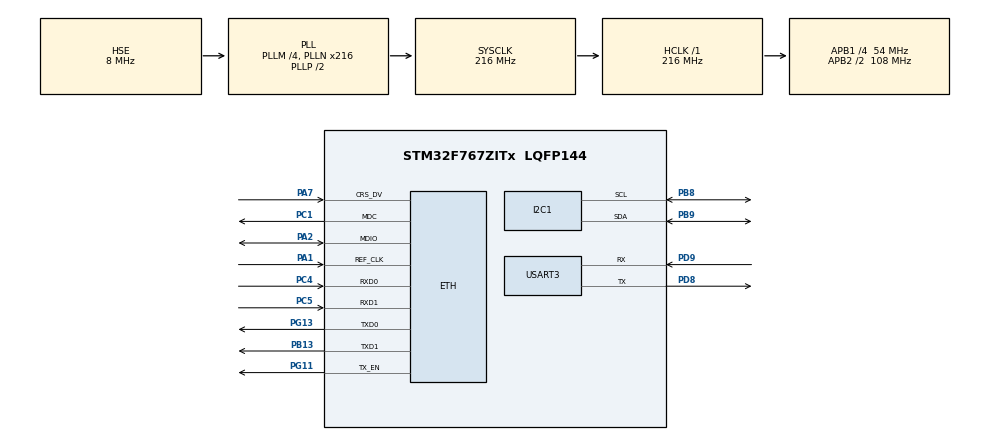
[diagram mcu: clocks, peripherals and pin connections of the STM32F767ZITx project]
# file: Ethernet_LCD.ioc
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CORTEX_M7.default_mode_Activation=1
ETH.MediaInterface=HAL_ETH_RMII_MODE
FREERTOS.Tasks01=defaultTask,0,256,StartDefaultTask,Default,NULL,Dynamic,NULL,NULL
FREERTOS.configTOTAL_HEAP_SIZE=30720
FREERTOS.configUSE_NEWLIB_REENTRANT=1
I2C1.Timing=0x20404768
LWIP.BSP.number=1
LWIP.IP_ADDRESS=192.168.001.100
LWIP.LWIP_DHCP=0
LWIP.MEM_SIZE=8192
LWIP.NETMASK_ADDRESS=255.255.255.000
LWIP.Version=v2.1.2_Cube
LWIP0.BSP.STBoard=false
LWIP0.BSP.api=BSP_COMPONENT_DRIVER
LWIP0.BSP.component=LAN8742
LWIP0.BSP.instance=LAN8742
LWIP0.BSP.name=Driver_PHY
LWIP0.BSP.semaphore=S_LAN8742
LWIP0.BSP.solution=LAN8742
Mcu.Family=STM32F7
Mcu.Name=STM32F767ZITx
Mcu.Package=LQFP144
NVIC.ETH_IRQn=true\:5\:0\:false\:false\:true\:true\:false\:true\:true
NVIC.PriorityGroup=NVIC_PRIORITYGROUP_4
NVIC.TIM1_UP_TIM10_IRQn=true\:15\:0\:false\:false\:true\:false\:false\:true\:true
NVIC.TimeBase=TIM1_UP_TIM10_IRQn
NVIC.TimeBaseIP=TIM1
PA1.Mode=RMII
PA1.Signal=ETH_REF_CLK
PA2.Mode=RMII
PA2.Signal=ETH_MDIO
PA7.Mode=RMII
PA7.Signal=ETH_CRS_DV
PB13.Mode=RMII
PB13.Signal=ETH_TXD1
PB8.Mode=I2C
PB8.Signal=I2C1_SCL
PB9.Mode=I2C
PB9.Signal=I2C1_SDA
PC1.Mode=RMII
PC1.Signal=ETH_MDC
PC4.Mode=RMII
PC4.Signal=ETH_RXD0
PC5.Mode=RMII
PC5.Signal=ETH_RXD1
PD8.Mode=Asynchronous
PD8.Signal=USART3_TX
PD9.Mode=Asynchronous
PD9.Signal=USART3_RX
PG11.Mode=RMII
PG11.Signal=ETH_TX_EN
PG13.Mode=RMII
PG13.Signal=ETH_TXD0
PH0/OSC_IN.Mode=HSE-External-Clock-Source
PH0/OSC_IN.Signal=RCC_OSC_IN
PH1/OSC_OUT.Mode=HSE-External-Clock-Source
PH1/OSC_OUT.Signal=RCC_OSC_OUT
ProjectManager.HeapSize=0x200
ProjectManager.StackSize=0x400
ProjectManager.TargetToolchain=STM32CubeIDE
RCC.AHBFreq_Value=216000000
RCC.APB1CLKDivider=RCC_HCLK_DIV4
RCC.APB1Freq_Value=54000000
RCC.APB1TimFreq_Value=108000000
RCC.APB2CLKDivider=RCC_HCLK_DIV2
RCC.APB2Freq_Value=108000000
RCC.APB2TimFreq_Value=216000000
RCC.CortexFreq_Value=216000000
RCC.HCLKFreq_Value=216000000
RCC.HSE_VALUE=8000000
RCC.HSI_VALUE=16000000
RCC.LSE_VALUE=32768
RCC.PLLM=4
RCC.PLLN=216
RCC.PLLSourceVirtual=RCC_PLLSOURCE_HSE
RCC.SYSCLKFreq_VALUE=216000000
RCC.SYSCLKSource=RCC_SYSCLKSOURCE_PLLCLK
RCC.USBFreq_Value=216000000
RCC.VCOOutputFreq_Value=432000000
USART3.VirtualMode-Asynchronous=VM_ASYNC
VP_FREERTOS_VS_CMSIS_V1.Mode=CMSIS_V1
VP_LWIP_VS_Enabled.Mode=Enabled
VP_SYS_VS_tim1.Mode=TIM1
board=custom

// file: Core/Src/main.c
/* USER CODE BEGIN Header */
/**
  ******************************************************************************
  * @file           : main.c
  * @brief          : Main program body
  ******************************************************************************
  * @attention
  *
  * Copyright (c) 2026 STMicroelectronics.
  * All rights reserved.
  *
  * This software is licensed under terms that can be found in the LICENSE file
  * in the root directory of this software component.
  * If no LICENSE file comes with this software, it is provided AS-IS.
  *
  ******************************************************************************
  */
/* USER CODE END Header */
#include "main.h"
#include "cmsis_os.h"
#include "lwip.h"

/* USER CODE BEGIN Includes */
#include <string.h>
#include <stdio.h>
#include "liquidcrystal_i2c.h"
#include "FreeRTOS.h"
#include "queue.h"
#include "lwip/netif.h"
#include "lwip/etharp.h"
#include "ethernetif.h"
#include "lwip/sockets.h"
#include "lwip/inet.h"
/* USER CODE END Includes */

I2C_HandleTypeDef hi2c1;

UART_HandleTypeDef huart3;

osThreadId defaultTaskHandle;
/* USER CODE BEGIN PV */

QueueHandle_t MessageQueue;
osThreadId printTaskHandle;
extern struct netif gnetif;
extern void Ethernet_Link_Periodic_Handle(struct netif *netif);
extern void MX_LWIP_Process(void);
extern ETH_DMADescTypeDef DMATxDscrTab[];
extern ETH_DMADescTypeDef DMARxDscrTab[];

/* USER CODE END PV */

void SystemClock_Config(void);
static void MPU_Config(void);
static void MX_GPIO_Init(void);
static void MX_I2C1_Init(void);
static void MX_USART3_UART_Init(void);
void StartDefaultTask(void const * argument);

/* USER CODE BEGIN PFP */
void printMessage(void const *arguement);
void StartDefaultTask(void const *arguement);
void HttpPollTask(void const *argument);

/* USER CODE END PFP */

int main(void)
{

  /* USER CODE BEGIN 1 */
	volatile uint32_t delay;
	for(delay = 0; delay < 2000000; delay++) __NOP();
  /* USER CODE END 1 */

  /* MPU Configuration--------------------------------------------------------*/
  MPU_Config();

  /* MCU Configuration--------------------------------------------------------*/

  /* Reset of all peripherals, Initializes the Flash interface and the Systick. */
  HAL_Init();

  /* Configure the system clock */
  SystemClock_Config();

  /* USER CODE BEGIN SysInit */
  SCB_EnableICache();
  SCB_EnableDCache();
  /* USER CODE END SysInit */

  /* Initialize all configured peripherals */
  MX_GPIO_Init();
  MX_I2C1_Init();
  MX_USART3_UART_Init();
  /* USER CODE BEGIN 2 */
  HD44780_Init(2);
  /* USER CODE END 2 */

  /* USER CODE BEGIN RTOS_QUEUES */
  MessageQueue = xQueueCreate(1, 32);
  /* add queues, ... */
  /* USER CODE END RTOS_QUEUES */

  /* Create the thread(s) */
  /* definition and creation of defaultTask */
  osThreadDef(defaultTask, StartDefaultTask, osPriorityNormal, 0, 512);
  defaultTaskHandle = osThreadCreate(osThread(defaultTask), NULL);

  /* USER CODE BEGIN RTOS_THREADS */
  osThreadDef(printMessage, printMessage, osPriorityNormal, 0, 512);
  printTaskHandle = osThreadCreate(osThread(printMessage), NULL);

  /* add threads, ... */
  /* USER CODE END RTOS_THREADS */

  /* Start scheduler */
  osKernelStart();

  /* We should never get here as control is now taken by the scheduler */

  /* Infinite loop */

}

void SystemClock_Config(void)
{
  RCC_OscInitTypeDef RCC_OscInitStruct = {0};
  RCC_ClkInitTypeDef RCC_ClkInitStruct = {0};

  /** Configure the main internal regulator output voltage
  */
  __HAL_RCC_PWR_CLK_ENABLE();
  __HAL_PWR_VOLTAGESCALING_CONFIG(PWR_REGULATOR_VOLTAGE_SCALE1);

  /** Initializes the RCC Oscillators according to the specified parameters
  * in the RCC_OscInitTypeDef structure.
  */
  RCC_OscInitStruct.OscillatorType = RCC_OSCILLATORTYPE_HSE;
  RCC_OscInitStruct.HSEState = RCC_HSE_BYPASS;
  RCC_OscInitStruct.PLL.PLLState = RCC_PLL_ON;
  RCC_OscInitStruct.PLL.PLLSource = RCC_PLLSOURCE_HSE;
  RCC_OscInitStruct.PLL.PLLM = 4;
  RCC_OscInitStruct.PLL.PLLN = 216;
  RCC_OscInitStruct.PLL.PLLP = RCC_PLLP_DIV2;
  RCC_OscInitStruct.PLL.PLLQ = 2;
  RCC_OscInitStruct.PLL.PLLR = 2;
  if (HAL_RCC_OscConfig(&RCC_OscInitStruct) != HAL_OK)
  {
    Error_Handler();
  }

  /** Activate the Over-Drive mode
  */
  if (HAL_PWREx_EnableOverDrive() != HAL_OK)
  {
    Error_Handler();
  }

  /** Initializes the CPU, AHB and APB buses clocks
  */
  RCC_ClkInitStruct.ClockType = RCC_CLOCKTYPE_HCLK|RCC_CLOCKTYPE_SYSCLK
                              |RCC_CLOCKTYPE_PCLK1|RCC_CLOCKTYPE_PCLK2;
  RCC_ClkInitStruct.SYSCLKSource = RCC_SYSCLKSOURCE_PLLCLK;
  RCC_ClkInitStruct.AHBCLKDivider = RCC_SYSCLK_DIV1;
  RCC_ClkInitStruct.APB1CLKDivider = RCC_HCLK_DIV4;
  RCC_ClkInitStruct.APB2CLKDivider = RCC_HCLK_DIV2;

  if (HAL_RCC_ClockConfig(&RCC_ClkInitStruct, FLASH_LATENCY_7) != HAL_OK)
  {
    Error_Handler();
  }
}

static void MX_I2C1_Init(void)
{

  hi2c1.Instance = I2C1;
  hi2c1.Init.Timing = 0x20404768;
  hi2c1.Init.OwnAddress1 = 0;
  hi2c1.Init.AddressingMode = I2C_ADDRESSINGMODE_7BIT;
  hi2c1.Init.DualAddressMode = I2C_DUALADDRESS_DISABLE;
  hi2c1.Init.OwnAddress2 = 0;
  hi2c1.Init.OwnAddress2Masks = I2C_OA2_NOMASK;
  hi2c1.Init.GeneralCallMode = I2C_GENERALCALL_DISABLE;
  hi2c1.Init.NoStretchMode = I2C_NOSTRETCH_DISABLE;
  if (HAL_I2C_Init(&hi2c1) != HAL_OK)
  {
    Error_Handler();
  }

  /** Configure Analogue filter
  */
  if (HAL_I2CEx_ConfigAnalogFilter(&hi2c1, I2C_ANALOGFILTER_ENABLE) != HAL_OK)
  {
    Error_Handler();
  }

  /** Configure Digital filter
  */
  if (HAL_I2CEx_ConfigDigitalFilter(&hi2c1, 0) != HAL_OK)
  {
    Error_Handler();
  }

}

static void MX_USART3_UART_Init(void)
{

  huart3.Instance = USART3;
  huart3.Init.BaudRate = 115200;
  huart3.Init.WordLength = UART_WORDLENGTH_8B;
  huart3.Init.StopBits = UART_STOPBITS_1;
  huart3.Init.Parity = UART_PARITY_NONE;
  huart3.Init.Mode = UART_MODE_TX_RX;
  huart3.Init.HwFlowCtl = UART_HWCONTROL_NONE;
  huart3.Init.OverSampling = UART_OVERSAMPLING_16;
  huart3.Init.OneBitSampling = UART_ONE_BIT_SAMPLE_DISABLE;
  huart3.AdvancedInit.AdvFeatureInit = UART_ADVFEATURE_NO_INIT;
  if (HAL_UART_Init(&huart3) != HAL_OK)
  {
    Error_Handler();
  }

}

static void MX_GPIO_Init(void)
{

  /* GPIO Ports Clock Enable */
  __HAL_RCC_GPIOH_CLK_ENABLE();
  __HAL_RCC_GPIOC_CLK_ENABLE();
  __HAL_RCC_GPIOA_CLK_ENABLE();
  __HAL_RCC_GPIOB_CLK_ENABLE();
  __HAL_RCC_GPIOD_CLK_ENABLE();
  __HAL_RCC_GPIOG_CLK_ENABLE();

}

/* USER CODE BEGIN 4 */
int __io_putchar(int ch)
{
    HAL_UART_Transmit(&huart3, (uint8_t*)&ch, 1, 10);
    return ch;
}
void printMessage(void const *argument)
{
    char msg[32] = "";
    for(;;)
    {
        if(xQueueReceive(MessageQueue, msg, portMAX_DELAY) == pdPASS)
        {
            char *line2 = strchr(msg, '\n');
            HD44780_Clear();
            HD44780_SetCursor(0, 0);
            if(line2)
            {
                *line2 = '\0';
                line2++;
                HD44780_PrintStr(msg);
                HD44780_SetCursor(0, 1);
                HD44780_PrintStr(line2);
            }
            else
            {
                HD44780_PrintStr(msg);
            }
        }
        osDelay(1);
    }
}

void HttpPollTask(void const *argument)
{
    osDelay(3000); // wait for network to stabilize

    int sock;
    struct sockaddr_in server;
    char request[] = "GET / HTTP/1.1\r\nHost: 192.168.1.9\r\nConnection: close\r\n\r\n";
    char response[512];

    for(;;)
    {
        sock = socket(AF_INET, SOCK_STREAM, 0);
        if(sock >= 0)
        {
            server.sin_family = AF_INET;
            server.sin_port = htons(8000);
            server.sin_addr.s_addr = inet_addr("192.168.1.9");

            if(connect(sock, (struct sockaddr*)&server, sizeof(server)) == 0)
            {
                send(sock, request, strlen(request), 0);
                memset(response, 0, sizeof(response));
                recv(sock, response, sizeof(response)-1, 0);

                // Find end of HTTP headers
                char *body = strstr(response, "\r\n\r\n");
                if(body)
                {
                    body += 4;
                    int len = strlen(body);
                    while(len > 0 && (body[len-1] == '\r' || body[len-1] == '\n' || body[len-1] == ' '))
                    {
                    	body[len-1] = '\0';
                    	len--;
                    }
                    xQueueSend(MessageQueue, body, 0);
                }
            }
            closesocket(sock);
        }
        osDelay(5000); // poll every 5 seconds
    }
}

/* USER CODE END 4 */

void StartDefaultTask(void const *argument)
{

    HD44780_Clear();
    HD44780_SetCursor(0, 0);
    HD44780_PrintStr("Welcome Home,");
    HD44780_SetCursor(0, 1);
    HD44780_PrintStr("Nasser");
    osDelay(2000);

    MX_LWIP_Init();

    osThreadDef(HttpPollTask, HttpPollTask, osPriorityNormal, 0, 1024);
    osThreadCreate(osThread(HttpPollTask), NULL);

    osThreadDef(ethernet_link, ethernet_link_thread, osPriorityNormal, 0, 512);
    osThreadCreate(osThread(ethernet_link), &gnetif);

    for(;;)
    {
        osDelay(1000);
    }
}

 /* MPU Configuration */

void MPU_Config(void)
{
  MPU_Region_InitTypeDef MPU_InitStruct = {0};
  HAL_MPU_Disable();

  /* Region 0: 4GB no access */
  MPU_InitStruct.Enable = MPU_REGION_ENABLE;
  MPU_InitStruct.Number = MPU_REGION_NUMBER0;
  MPU_InitStruct.BaseAddress = 0x0;
  MPU_InitStruct.Size = MPU_REGION_SIZE_4GB;
  MPU_InitStruct.SubRegionDisable = 0x87;
  MPU_InitStruct.TypeExtField = MPU_TEX_LEVEL0;
  MPU_InitStruct.AccessPermission = MPU_REGION_NO_ACCESS;
  MPU_InitStruct.DisableExec = MPU_INSTRUCTION_ACCESS_DISABLE;
  MPU_InitStruct.IsShareable = MPU_ACCESS_SHAREABLE;
  MPU_InitStruct.IsCacheable = MPU_ACCESS_NOT_CACHEABLE;
  MPU_InitStruct.IsBufferable = MPU_ACCESS_NOT_BUFFERABLE;
  HAL_MPU_ConfigRegion(&MPU_InitStruct);

  /* Region 1: Ethernet Buffers 0x20078000, 16KB, non-cacheable */
  MPU_InitStruct.Enable = MPU_REGION_ENABLE;
  MPU_InitStruct.Number = MPU_REGION_NUMBER1;
  MPU_InitStruct.BaseAddress = 0x20078000;
  MPU_InitStruct.Size = MPU_REGION_SIZE_16KB;
  MPU_InitStruct.SubRegionDisable = 0x00;
  MPU_InitStruct.TypeExtField = MPU_TEX_LEVEL1;
  MPU_InitStruct.AccessPermission = MPU_REGION_FULL_ACCESS;
  MPU_InitStruct.DisableExec = MPU_INSTRUCTION_ACCESS_DISABLE;
  MPU_InitStruct.IsShareable = MPU_ACCESS_NOT_SHAREABLE;
  MPU_InitStruct.IsCacheable = MPU_ACCESS_NOT_CACHEABLE;
  MPU_InitStruct.IsBufferable = MPU_ACCESS_NOT_BUFFERABLE;
  HAL_MPU_ConfigRegion(&MPU_InitStruct);

  /* Region 2: Ethernet Descriptors 0x2007C000, 1KB, shareable */
  MPU_InitStruct.Enable = MPU_REGION_ENABLE;
  MPU_InitStruct.Number = MPU_REGION_NUMBER2;
  MPU_InitStruct.BaseAddress = 0x2007C000;
  MPU_InitStruct.Size = MPU_REGION_SIZE_1KB;
  MPU_InitStruct.SubRegionDisable = 0x00;
  MPU_InitStruct.TypeExtField = MPU_TEX_LEVEL0;
  MPU_InitStruct.AccessPermission = MPU_REGION_FULL_ACCESS;
  MPU_InitStruct.DisableExec = MPU_INSTRUCTION_ACCESS_DISABLE;
  MPU_InitStruct.IsShareable = MPU_ACCESS_SHAREABLE;
  MPU_InitStruct.IsCacheable = MPU_ACCESS_NOT_CACHEABLE;
  MPU_InitStruct.IsBufferable = MPU_ACCESS_BUFFERABLE;
  HAL_MPU_ConfigRegion(&MPU_InitStruct);

  HAL_MPU_Enable(MPU_PRIVILEGED_DEFAULT);
}

void HAL_TIM_PeriodElapsedCallback(TIM_HandleTypeDef *htim)
{
  if (htim->Instance == TIM1)
  {
    HAL_IncTick();
  }
}

void Error_Handler(void)
{
  __disable_irq();
  while (1)
  {
  }
}
